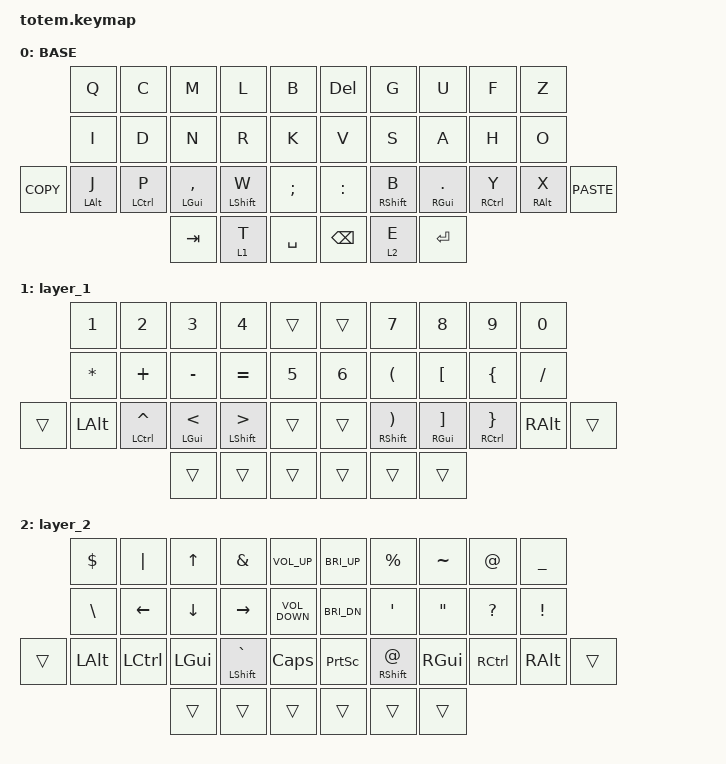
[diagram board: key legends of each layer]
//
//                                                        ▀▀▀▀▀     ▀▀▀▀▀          ▀▀█▀▀
//                                                        ▄▀▀▀▄  ▄  ▄▀▀▀▄  ▄  ▄▀▀▀▄  █  ▄▀▀▀▄
//                                                        █   █  █  █   █  █  █   █  █  █   █
//                                                         ▀▀▀   █   ▀▀▀   █   ▀▀▀   ▀   ▀▀▀
//                                                               █      ▄▄▄█▄▄▄    █   █  
//                                                               ▀      █  █  █     █▄█
//                                                             ▀▀▀▀▀    █  █  █      ▀
//                                                                      ▀  ▀  ▀
//
// ▄▄▄▄▄▄▄▄▄▄▄▄▄▄▄▄▄▄▄▄▄▄▄▄▄▄▄▄▄▄▄▄▄▄▄▄▄▄▄▄▄▄▄▄▄▄▄▄▄▄▄▄▄▄▄▄▄▄▄▄▄▄▄▄▄▄▄▄▄▄▄▄▄▄▄▄▄▄▄▄▄▄▄▄▄▄▄▄▄▄▄▄▄▄▄▄▄▄▄▄▄▄▄▄▄▄▄▄▄▄▄▄▄▄▄▄▄▄▄▄▄▄▄▄▄▄▄▄▄▄▄▄▄▄▄▄▄▄▄▄▄▄▄▄▄▄▄▄▄

#define BASE 0
#define MATH 1
#define SYMB 2
#define ADJU  3

#include <behaviors.dtsi>
#include <dt-bindings/zmk/keys.h>

/ {
    combos { compatible = "zmk,combos"; };

    behaviors {
        ss_hs_modmorph: ss_hs_modmorph {
            compatible = "zmk,behavior-mod-morph";
            label = "SS_HS_MODMORPH";
            bindings = <&kp M>, <&kp RIGHT_BRACKET>;

            #binding-cells = <0>;
            mods = <(MOD_LSFT|MOD_RSFT)>;
        };

        kh_hs_tapdance: kh_hs_tapdance {
            compatible = "zmk,behavior-tap-dance";
            label = "KH_HS_TAPDANCE";
            #binding-cells = <0>;
            tapping-term-ms = <200>;
            bindings = <&kp LEFT_BRACKET>, <&kp RIGHT_BRACKET>;
        };

        hrm: hrm {
            compatible = "zmk,behavior-hold-tap";
            #binding-cells = <2>;
            flavor = "tap-preferred";
            tapping-term-ms = <400>;
            quick-tap-ms = <400>;
            require-prior-idle-ms = <400>;
            bindings = <&kp>, <&kp>;
        };

        hrmt: hrmt {
            compatible = "zmk,behavior-hold-tap";
            bindings = <&mo>, <&kp>;

            #binding-cells = <2>;
            tapping-term-ms = <400>;
            quick-tap-ms = <400>;
            require-prior-idle-ms = <400>;
            flavor = "tap-preferred";
        };
    };

    keymap {
        compatible = "zmk,keymap";

        base {
            label = "BASE";
            bindings = <
            &kp Q            &kp C                &kp M                &kp L              &kp B        &kp DEL        &kp G               &kp U               &kp F                 &kp Z
            &kp I            &kp D                &kp N                &kp R              &kp K        &kp V          &kp S               &kp A               &kp H                 &kp O
&kp K_COPY  &hrm LEFT_ALT J  &hrm LEFT_CONTROL P  &hrm LEFT_GUI COMMA  &hrm LEFT_SHIFT W  &kp SEMI     &kp COLON      &hrm RIGHT_SHIFT B  &hrm RIGHT_GUI DOT  &hrm RIGHT_CONTROL Y  &hrm RIGHT_ALT X  &kp K_PASTE
                                                  &kp TAB              &hrmt 1 T          &kp SPACE    &kp BACKSPACE  &hrmt 2 E           &kp ENTER
            >;
        };

        layer_1 {
            bindings = <
        &kp NUMBER_1  &kp NUMBER_2             &kp NUMBER_3             &kp NUMBER_4                  &trans    &trans        &kp N7                              &kp N8                        &kp N9                          &kp N0
        &kp ASTERISK  &kp PLUS                 &kp MINUS                &kp EQUAL                     &kp N5    &kp NUMBER_6  &kp LEFT_PARENTHESIS                &kp LEFT_BRACKET              &kp LEFT_BRACE                  &kp SLASH
&trans  &kp LEFT_ALT  &hrm LEFT_CONTROL CARET  &hrm LEFT_GUI LESS_THAN  &hrm LEFT_SHIFT GREATER_THAN  &trans    &trans        &hrm RIGHT_SHIFT RIGHT_PARENTHESIS  &hrm RIGHT_GUI RIGHT_BRACKET  &hrm RIGHT_CONTROL RIGHT_BRACE  &kp RIGHT_ALT  &trans
                                               &trans                   &trans                        &trans    &trans        &trans                              &trans
            >;
        };

        layer_2 {
            bindings = <
        &kp DOLLAR     &kp PIPE          &kp UP        &kp AMPS               &kp C_VOLUME_UP      &kp C_BRI_UP     &kp PERCENT          &kp TILDE          &kp AT             &kp UNDER
        &kp BACKSLASH  &kp LEFT          &kp DOWN      &kp RIGHT              &kp C_VOLUME_DOWN    &kp C_BRI_DN     &kp SINGLE_QUOTE     &kp DOUBLE_QUOTES  &kp QUESTION       &kp EXCL
&trans  &kp LEFT_ALT   &kp LEFT_CONTROL  &kp LEFT_GUI  &hrm LEFT_SHIFT GRAVE  &kp CLCK             &kp PRINTSCREEN  &hrm RIGHT_SHIFT AT  &kp RIGHT_GUI      &kp RIGHT_CONTROL  &kp RIGHT_ALT  &trans
                                         &trans        &trans                 &trans               &trans           &trans               &trans
            >;
        };
    };
};
